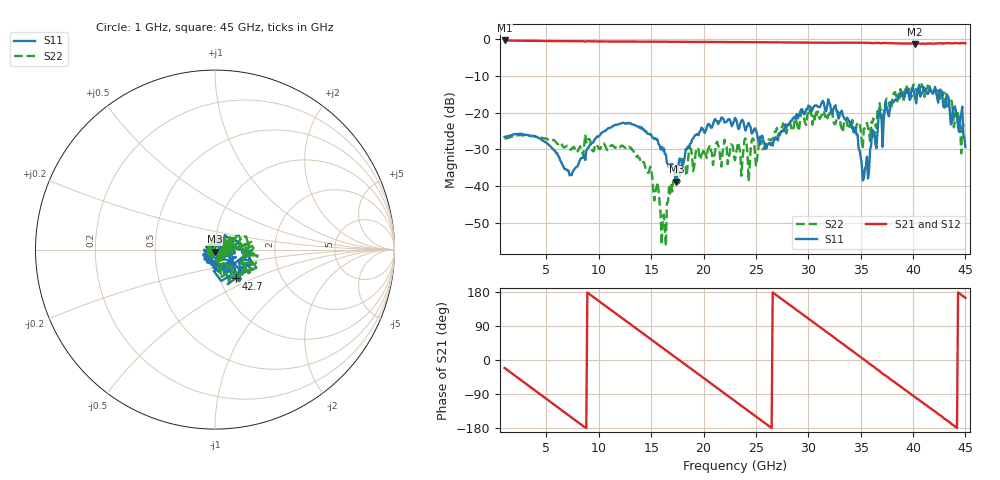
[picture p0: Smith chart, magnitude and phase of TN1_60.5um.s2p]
!Keysight Technologies,N5247B,MY61255062,A.19.80.06
!Date: Monday, May 18, 2026 12:53:06
!Correction: S11(Cdelta 2-Port  )
!S21(Cdelta 2-Port  )
!S12(Cdelta 2-Port  )
!S22(Cdelta 2-Port  )
!S2P File: Measurements: S11, S21, S12, S22:
# Hz S  dB  R 50
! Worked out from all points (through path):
!   441 points, 1 GHz to 45 GHz, reference 50 ohm
!   highest |S21| = -0.41 dB at 1 GHz (marker M1); lowest = -1.3 dB at 40.2 GHz (marker M2)
!   group delay of S21, straight-line fit = 56.5 ps
!   lowest |S11| = -38.8 dB at 17.4 GHz (marker M3), VSWR 1.02, Z = 49.9 - j1.13 ohm
!   |S11| at or under -10 dB: start of sweep to end of sweep
!   |S22| runs from -56.3 to -12.0 dB; largest |S21 - S12| = 0.017
!   S11 on the Smith chart (normalised r, x): 1 GHz: 1.09, -0.03; 42.7 GHz: 1.19, -0.40; 45 GHz: 1.07, -0.01
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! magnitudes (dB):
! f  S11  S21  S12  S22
! 1 GHz  -26.6  -0.4  -0.4  -27.1
! 4.3 GHz  -26.9  -0.5  -0.5  -26.7
! 7.2 GHz  -37.1  -0.6  -0.6  -29.8
! 8.4 GHz  -32.4  -0.6  -0.6  -30.7
! 13.1 GHz  -23.2  -0.7  -0.7  -29.6
! 15.7 GHz  -28.6  -0.8  -0.8  -41.3
! 16.2 GHz  -29.7  -0.8  -0.8  -47.7
! 16.7 GHz  -35.0  -0.8  -0.8  -40.3
! 17.4 GHz  -38.8  -0.8  -0.8  -37.6
! 18.7 GHz  -28.6  -0.8  -0.8  -29.6
! 19.8 GHz  -24.1  -0.8  -0.8  -31.4
! 23 GHz  -21.5  -0.9  -0.8  -33.0
! 26.1 GHz  -28.7  -0.9  -0.9  -27.7
! 30.4 GHz  -19.2  -1.0  -1.0  -23.3
! 33.9 GHz  -22.3  -1.0  -1.0  -24.4
! 35.3 GHz  -38.0  -1.0  -1.0  -24.4
! 36.8 GHz  -19.6  -1.1  -1.1  -17.5
! 37.7 GHz  -21.1  -1.2  -1.2  -17.4
! 40.2 GHz  -16.0  -1.3  -1.3  -12.4
! 42.7 GHz  -14.1  -1.2  -1.2  -14.3
! 44.7 GHz  -18.4  -1.1  -1.2  -24.0
! 45 GHz  -29.4  -1.2  -1.2  -24.0
